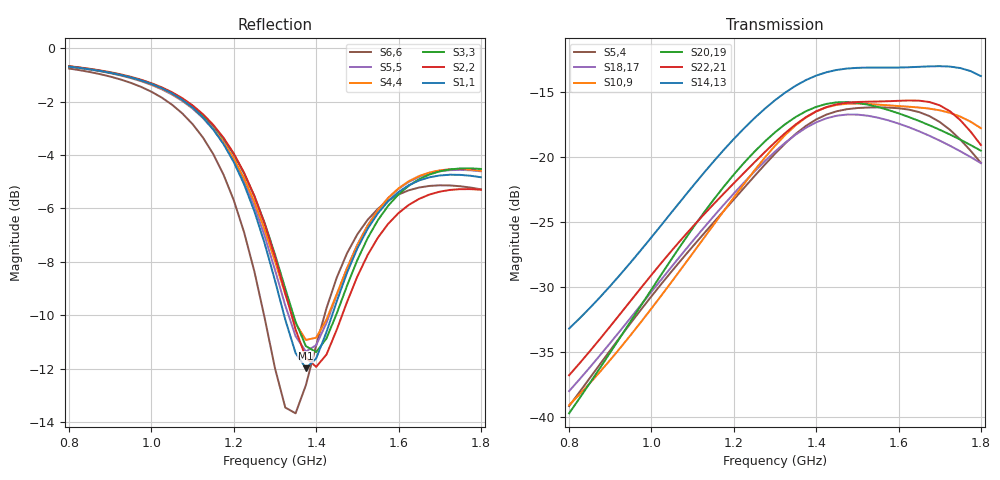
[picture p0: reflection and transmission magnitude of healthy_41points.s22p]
# GHz S RI R 50
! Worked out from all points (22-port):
!   41 points, 800 MHz to 1.8 GHz, reference 50 ohm
!   strongest paths, dB at 800 MHz, 1.05 GHz, 1.3 GHz, 1.55 GHz, 1.8 GHz:
!     S14,13: -33.2, -24.2, -15.6, -13.1, -13.8
!     S22,21: -36.8, -27.1, -18.9, -15.7, -19.1
!     S20,19: -39.7, -27.8, -18.1, -16.1, -19.5
!     S10,9: -39.1, -29.5, -19.1, -16.0, -17.8
!     S18,17: -38.0, -28.4, -19.6, -17.0, -20.5
!     S5,4: -39.1, -28.7, -19.7, -16.2, -20.4
!   lowest |S11| = -12.0 dB at 1.375 GHz (marker M1), VSWR 1.67, Z = 29.9 - j0.909 ohm
!   |S11| at or under -10 dB: 1.322 GHz to 1.439 GHz (116.5 MHz wide, 8.44 % of centre)
